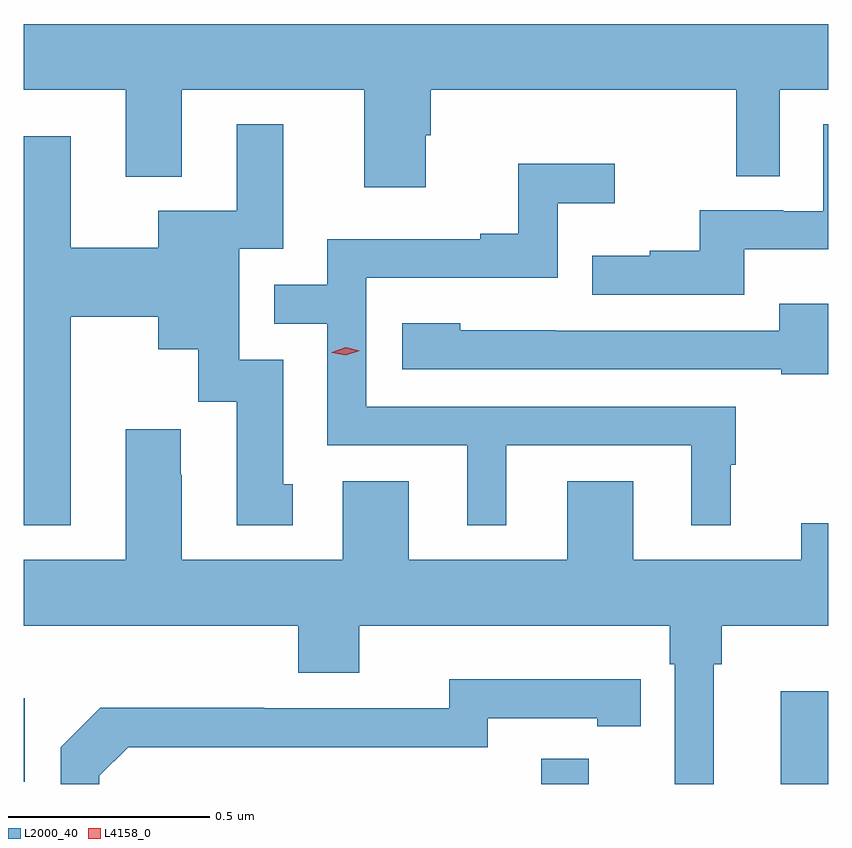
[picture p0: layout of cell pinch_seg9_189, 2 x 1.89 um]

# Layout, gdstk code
import gdstk
lib = gdstk.Library(unit=1e-6, precision=1e-09)
def R(c, l, rs):  # rectangles x0, y0, x1, y1
    for r in rs: c.add(gdstk.rectangle(r[:2], r[2:], *l))
def P(c, l, *ps):  # polygons
    for p in ps: c.add(gdstk.Polygon(p, *l))
L2000_40 = (2000, 40)
L4158_0 = (4158, 0)

pinch_seg9_189 = lib.new_cell('pinch_seg9_189')
R(pinch_seg9_189, L2000_40, [(799.219,1196.026,799.337,1196.089), (799.814,1196.026,799.932,1196.257), (797.932,1196.031,797.934,1196.239)])
P(pinch_seg9_189, L2000_40, [(798.931,1197.639),(798.944,1197.639),(798.944,1197.752),(799.704,1197.752),(799.704,1197.538),(799.812,1197.538),(799.812,1197.752),(799.932,1197.752),(799.932,1197.916),(797.932,1197.916),(797.932,1197.752),(798.185,1197.752),(798.185,1197.536),(798.325,1197.536),(798.325,1197.752),(798.779,1197.752),(798.779,1197.51),(798.931,1197.51)],
  [(798.049,1197.188),(798.266,1197.188),(798.266,1197.107),(798.365,1197.107),(798.365,1196.976),(798.461,1196.976),(798.461,1196.67),(798.601,1196.67),(798.601,1196.772),(798.577,1196.772),(798.577,1197.081),(798.468,1197.081),(798.468,1197.357),(798.577,1197.357),(798.577,1197.667),(798.461,1197.667),(798.461,1197.451),(798.266,1197.451),(798.266,1197.36),(798.049,1197.36),(798.049,1197.637),(797.932,1197.637),(797.932,1196.669),(798.049,1196.669)],
  [(799.723,1197.356),(799.932,1197.356),(799.932,1197.667),(799.92,1197.667),(799.92,1197.45),(799.82,1197.45),(799.82,1197.453),(799.613,1197.453),(799.613,1197.352),(799.489,1197.352),(799.489,1197.34),(799.345,1197.34),(799.345,1197.243),(799.723,1197.243)],
  [(799.132,1196.868),(799.592,1196.868),(799.592,1196.669),(799.69,1196.669),(799.69,1196.82),(799.702,1196.82),(799.702,1196.964),(798.783,1196.964),(798.783,1197.285),(799.26,1197.285),(799.26,1197.47),(799.402,1197.47),(799.402,1197.569),(799.162,1197.569),(799.162,1197.394),(799.067,1197.394),(799.067,1197.381),(798.687,1197.381),(798.687,1197.267),(798.554,1197.267),(798.554,1197.171),(798.687,1197.171),(798.687,1196.868),(799.034,1196.868),(799.034,1196.669),(799.132,1196.669)],
  [(799.932,1197.22),(799.811,1197.22),(799.811,1197.153),(799.253,1197.153),(799.253,1197.154),(799.017,1197.154),(799.017,1197.172),(798.873,1197.172),(798.873,1197.057),(799.815,1197.057),(799.815,1197.045),(799.932,1197.045)],
  [(799.648,1196.324),(799.667,1196.324),(799.667,1196.42),(799.932,1196.42),(799.932,1196.675),(799.865,1196.675),(799.865,1196.584),(799.447,1196.584),(799.447,1196.779),(799.283,1196.779),(799.283,1196.584),(798.889,1196.584),(798.889,1196.779),(798.725,1196.779),(798.725,1196.584),(798.325,1196.584),(798.325,1196.795),(798.322,1196.795),(798.322,1196.908),(798.185,1196.908),(798.185,1196.584),(797.932,1196.584),(797.932,1196.42),(798.614,1196.42),(798.614,1196.303),(798.766,1196.303),(798.766,1196.42),(799.538,1196.42),(799.538,1196.324),(799.551,1196.324),(799.551,1196.026),(799.648,1196.026)],
  [(798.12,1196.046),(798.192,1196.118),(799.086,1196.118),(799.086,1196.19),(799.358,1196.19),(799.358,1196.17),(799.466,1196.17),(799.466,1196.286),(799.358,1196.286),(799.358,1196.287),(798.99,1196.287),(798.99,1196.214),(798.53,1196.214),(798.53,1196.216),(798.122,1196.216),(798.024,1196.118),(798.024,1196.026),(798.12,1196.026)])
P(pinch_seg9_189, L4158_0, [(798.733,1197.092),(798.698,1197.099),(798.698,1197.1),(798.698,1197.1),(798.732,1197.112),(798.767,1197.104),(798.767,1197.104),(798.767,1197.104)])

lib.write_gds('pinch_seg9_189.gds')
